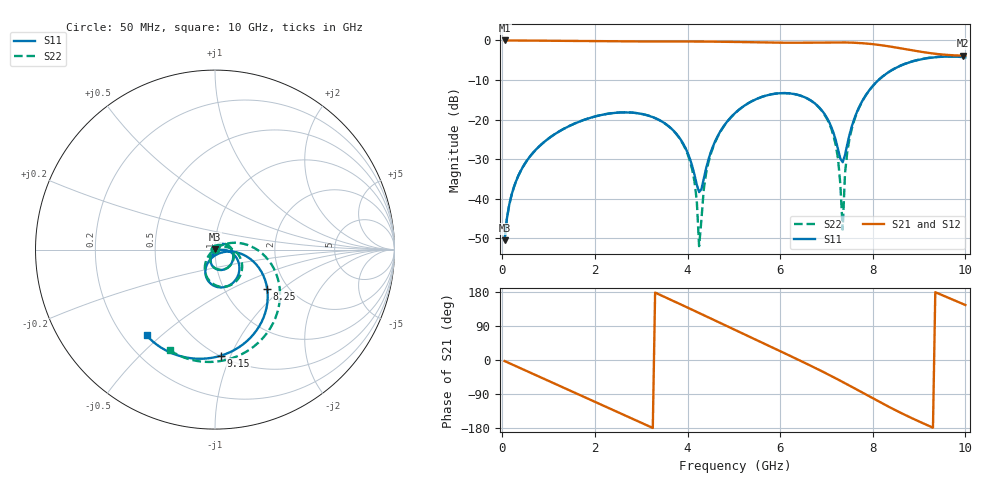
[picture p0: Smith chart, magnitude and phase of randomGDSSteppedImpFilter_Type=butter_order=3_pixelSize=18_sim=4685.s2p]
! freq	dB(S11)	phase(S11)	dB(S12)	phase(S12)
!  dB(S21)	phase(S21)	dB(S22)	phase(S22)
!S-par simulation data
#  GHz  S  DB  R 50
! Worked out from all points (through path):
!   200 points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, 50 MHz to 10 GHz, reference 50 ohm
!   highest |S21| = -0.01 dB at 50 MHz (marker M1); lowest = -3.8 dB at 9.95 GHz (marker M2)
!   group delay of S21, straight-line fit = 161 ps
!   lowest |S11| = -50.5 dB at 50 MHz (marker M3), VSWR 1.01, Z = 50.1 + j0.265 ohm
!   |S11| at or under -10 dB: start of sweep to 8.127 GHz
!   |S22| runs from -52.0 to -4.0 dB; largest |S21 - S12| = 0
!   S11 on the Smith chart (normalised r, x): 50 MHz: 1.00, +0.01; 8.25 GHz: 1.58, -0.79; 9.15 GHz: 0.51, -0.92; 10 GHz: 0.29, -0.45
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0.05  -50.50 62.5  -0.01 -2.8  -0.01 -2.8  -50.39 62.3
0.2  -39.06 72.9  -0.03 -11.1  -0.03 -11.1  -39.09 73.8
0.5  -30.95 60.6  -0.04 -27.6  -0.04 -27.6  -30.94 62.2
1.75  -20.16 -7.5  -0.15 -96.5  -0.15 -96.5  -20.14 -3.7
3.4  -20.20 -95.5  -0.27 172.3  -0.27 172.3  -20.22 -94.4
4.05  -29.88 -116.7  -0.28 135.5  -0.28 135.5  -30.40 -130.5
4.2  -36.50 -93.7  -0.28 127.0  -0.28 127.0  -40.59 -137.0
4.25  -38.36 -68.0  -0.29 124.1  -0.29 124.1  -52.03 -104.2
4.35  -35.03 -17.1  -0.29 118.3  -0.29 118.3  -37.74 29.7
4.5  -28.33 -1.5  -0.31 109.7  -0.31 109.7  -28.78 22.4
5.05  -18.12 -19.6  -0.39 77.9  -0.39 77.9  -18.14 -8.6
5.95  -13.40 -66.7  -0.58 26.2  -0.58 26.2  -13.39 -60.0
6.7  -15.49 -105.6  -0.56 -17.5  -0.56 -17.5  -15.53 -103.7
7.2  -25.21 -113.7  -0.50 -48.3  -0.50 -48.3  -26.42 -136.5
7.35  -30.80 -58.5  -0.51 -58.0  -0.51 -58.0  -47.85 94.1
7.4  -29.01 -31.5  -0.52 -61.2  -0.52 -61.2  -33.68 41.3
7.55  -21.63 -7.4  -0.57 -71.0  -0.57 -71.0  -22.17 26.1
8.25  -8.79 -36.9  -1.33 -117.3  -1.33 -117.3  -8.77 -21.2
8.35  -7.96 -42.7  -1.51 -123.7  -1.51 -123.7  -7.94 -27.5
9.15  -4.56 -86.8  -3.07 -170.5  -3.07 -170.5  -4.51 -73.0
9.95  -4.22 -126.2  -3.83 147.8  -3.83 147.8  -4.17 -111.8
10  -4.27 -128.5  -3.83 145.1  -3.83 145.1  -4.23 -114.1
